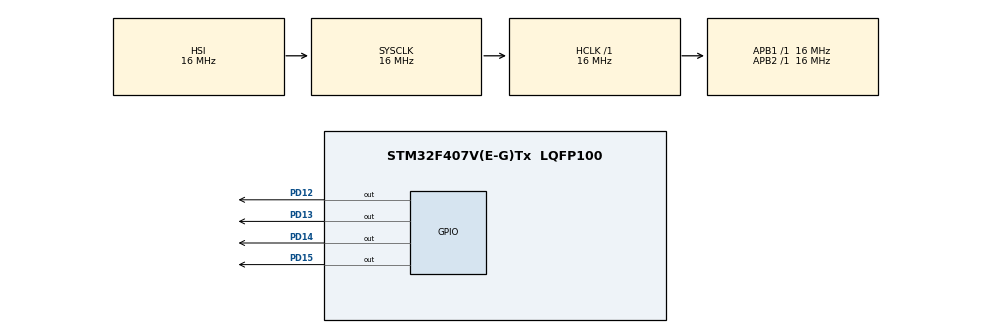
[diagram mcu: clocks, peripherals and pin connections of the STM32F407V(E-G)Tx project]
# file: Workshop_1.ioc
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Mcu.Family=STM32F4
Mcu.Name=STM32F407V(E-G)Tx
Mcu.Package=LQFP100
NVIC.PriorityGroup=NVIC_PRIORITYGROUP_4
PD12.Signal=GPIO_Output
PD13.Signal=GPIO_Output
PD14.Signal=GPIO_Output
PD15.Signal=GPIO_Output
ProjectManager.HeapSize=0x200
ProjectManager.StackSize=0x400
ProjectManager.TargetToolchain=STM32CubeIDE
RCC.AHBFreq_Value=16000000
RCC.APB1Freq_Value=16000000
RCC.APB2Freq_Value=16000000
RCC.CortexFreq_Value=16000000
RCC.HSE_VALUE=25000000
RCC.HSI_VALUE=16000000
RCC.LSE_VALUE=32768
RCC.SYSCLKFreq_VALUE=16000000
RCC.VCOOutputFreq_Value=192000000
board=custom

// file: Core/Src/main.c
/* USER CODE BEGIN Header */
/**
  ******************************************************************************
  * @file           : main.c
  * @brief          : Main program body
  ******************************************************************************
  * @attention
  *
  * Copyright (c) 2024 STMicroelectronics.
  * All rights reserved.
  *
  * This software is licensed under terms that can be found in the LICENSE file
  * in the root directory of this software component.
  * If no LICENSE file comes with this software, it is provided AS-IS.
  *
  ******************************************************************************
  */
/* USER CODE END Header */
#include "main.h"

/* USER CODE BEGIN PTD */
#define LED1 GPIO_PIN_12
#define LED2 GPIO_PIN_13
#define LED3 GPIO_PIN_14
#define LED4 GPIO_PIN_15

/* USER CODE END PTD */

void SystemClock_Config(void);
static void MX_GPIO_Init(void);
/* USER CODE BEGIN PFP */
void ChristmasLights(void);
/* USER CODE END PFP */

int main(void)
{

  /* MCU Configuration--------------------------------------------------------*/

  /* Reset of all peripherals, Initializes the Flash interface and the Systick. */
  HAL_Init();

  /* Configure the system clock */
  SystemClock_Config();

  /* Initialize all configured peripherals */
  MX_GPIO_Init();

  /* Infinite loop */
  while (1)
  {
	  ChristmasLights();

  }
}

void SystemClock_Config(void)
{
  RCC_OscInitTypeDef RCC_OscInitStruct = {0};
  RCC_ClkInitTypeDef RCC_ClkInitStruct = {0};

  /** Configure the main internal regulator output voltage
  */
  __HAL_RCC_PWR_CLK_ENABLE();
  __HAL_PWR_VOLTAGESCALING_CONFIG(PWR_REGULATOR_VOLTAGE_SCALE1);

  /** Initializes the RCC Oscillators according to the specified parameters
  * in the RCC_OscInitTypeDef structure.
  */
  RCC_OscInitStruct.OscillatorType = RCC_OSCILLATORTYPE_HSI;
  RCC_OscInitStruct.HSIState = RCC_HSI_ON;
  RCC_OscInitStruct.HSICalibrationValue = RCC_HSICALIBRATION_DEFAULT;
  RCC_OscInitStruct.PLL.PLLState = RCC_PLL_NONE;
  if (HAL_RCC_OscConfig(&RCC_OscInitStruct) != HAL_OK)
  {
    Error_Handler();
  }

  /** Initializes the CPU, AHB and APB buses clocks
  */
  RCC_ClkInitStruct.ClockType = RCC_CLOCKTYPE_HCLK|RCC_CLOCKTYPE_SYSCLK
                              |RCC_CLOCKTYPE_PCLK1|RCC_CLOCKTYPE_PCLK2;
  RCC_ClkInitStruct.SYSCLKSource = RCC_SYSCLKSOURCE_HSI;
  RCC_ClkInitStruct.AHBCLKDivider = RCC_SYSCLK_DIV1;
  RCC_ClkInitStruct.APB1CLKDivider = RCC_HCLK_DIV1;
  RCC_ClkInitStruct.APB2CLKDivider = RCC_HCLK_DIV1;

  if (HAL_RCC_ClockConfig(&RCC_ClkInitStruct, FLASH_LATENCY_0) != HAL_OK)
  {
    Error_Handler();
  }
}

static void MX_GPIO_Init(void)
{
  GPIO_InitTypeDef GPIO_InitStruct = {0};

  /* GPIO Ports Clock Enable */
  __HAL_RCC_GPIOD_CLK_ENABLE();

  /*Configure GPIO pin Output Level */
  HAL_GPIO_WritePin(GPIOD, GPIO_PIN_12|GPIO_PIN_13|GPIO_PIN_14|GPIO_PIN_15, GPIO_PIN_RESET);

  /*Configure GPIO pins : PD12 PD13 PD14 PD15 */
  GPIO_InitStruct.Pin = GPIO_PIN_12|GPIO_PIN_13|GPIO_PIN_14|GPIO_PIN_15;
  GPIO_InitStruct.Mode = GPIO_MODE_OUTPUT_PP;
  GPIO_InitStruct.Pull = GPIO_NOPULL;
  GPIO_InitStruct.Speed = GPIO_SPEED_FREQ_LOW;
  HAL_GPIO_Init(GPIOD, &GPIO_InitStruct);

}

/* USER CODE BEGIN 4 */
void ChristmasLights(void)
{
  HAL_GPIO_WritePin(GPIOD, LED1, GPIO_PIN_SET);
  HAL_Delay(250);
  HAL_GPIO_WritePin(GPIOD, LED1, GPIO_PIN_RESET);
  HAL_GPIO_WritePin(GPIOD, LED2, GPIO_PIN_SET);
  HAL_Delay(250);
  HAL_GPIO_WritePin(GPIOD, LED2, GPIO_PIN_RESET);
  HAL_GPIO_WritePin(GPIOD, LED3, GPIO_PIN_SET);
  HAL_Delay(250);
  HAL_GPIO_WritePin(GPIOD, LED3, GPIO_PIN_RESET);
  HAL_GPIO_WritePin(GPIOD, LED4, GPIO_PIN_SET);
  HAL_Delay(250);
  HAL_GPIO_WritePin(GPIOD, LED4, GPIO_PIN_RESET);
}
/* USER CODE END 4 */

void Error_Handler(void)
{
  __disable_irq();
  while (1)
  {
  }
}
